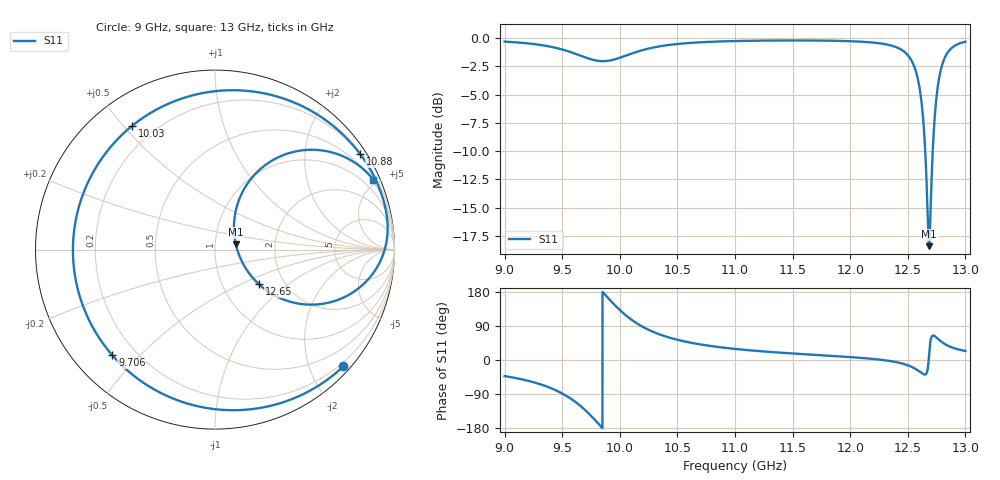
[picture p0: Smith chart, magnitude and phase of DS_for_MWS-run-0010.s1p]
! TOUCHSTONE file generated by CST DESIGN STUDIO
! Date and time: Tue Feb  4 17:24:18 2025
! Project name: C:\Work\MatlabApps\UnitCellOptimizationMatlab\CST\unitcell.cst
! Tree item: Tasks\Sweep1\SPara1\S-Parameters
! Header version: 2024
! Port assignment regex: !\s*Touchstone port\s*([0-9]+)\s*=\s*(CST MWS port|CST DES external port|CST DES block port)\s*(.+)\s* \(\"(.*)\"\)(\s*mode\s*([0-9]+))?.*
! Touchstone port assignment:
! Touchstone port 1 = CST DES external port 1 ("")
# GHz S MA R 50
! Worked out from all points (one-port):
!   4001 points, 9 GHz to 13 GHz, reference 50 ohm
!   lowest |S11| = -18.4 dB at 12.69 GHz (marker M1), VSWR 1.27, Z = 63 + j3.81 ohm
!   |S11| at or under -10 dB: 12.65 GHz to 12.72 GHz (65.02 MHz wide, 0.513 % of centre)
!   S11 on the Smith chart (normalised r, x): 9 GHz: 0.13, -2.58; 9.706 GHz: 0.12, -0.42; 10.03 GHz: 0.12, +0.53; 10.88 GHz: 0.20, +3.34; 12.65 GHz: 1.49, -0.64; 13 GHz: 0.42, +4.71
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9  0.9666 -42.3
9.278  0.9395 -61.0
9.5  0.892 -88.3
9.61  0.8556 -109.6
9.706  0.8209 -134.1
9.784  0.799 -158.1
9.852  0.7916 179.2
9.92  0.7981 156.4
10  0.8198 131.9
10.029  0.8297 123.9
10.203  0.8879 86.9
10.343  0.9205 67.8
10.5  0.9433 53.4
10.882  0.9684 33.2
11  0.972 29.2
11.5  0.978 17.2
12  0.9706 7.7
12.338  0.9336 -2.3
12.5  0.8417 -13.8
12.599  0.6161 -29.9
12.652  0.3121 -38.3
12.672  0.1678 -24.9
12.685  0.1198 14.4
12.697  0.1671 50.8
12.736  0.4632 62.4
12.78  0.6999 51.1
12.87  0.895 34.7
13  0.965 23.8
